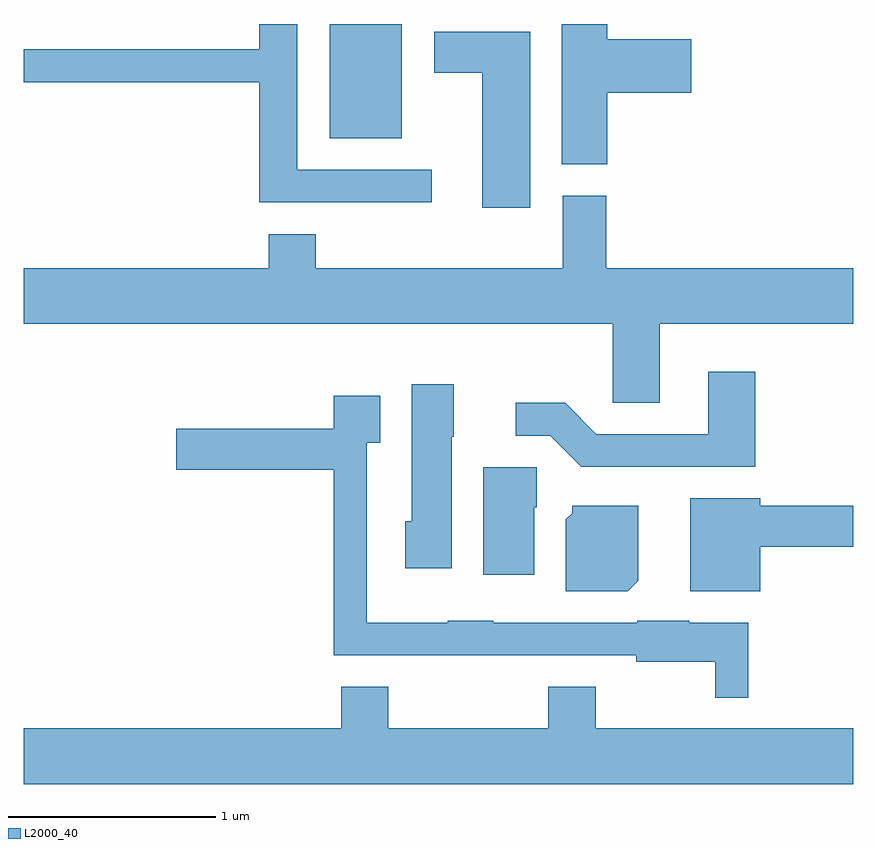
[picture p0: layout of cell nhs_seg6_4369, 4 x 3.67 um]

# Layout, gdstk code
import gdstk
lib = gdstk.Library(unit=1e-6, precision=1e-09)
def R(c, l, rs):  # rectangles x0, y0, x1, y1
    for r in rs: c.add(gdstk.rectangle(r[:2], r[2:], *l))
def P(c, l, *ps):  # polygons
    for p in ps: c.add(gdstk.Polygon(p, *l))
L2000_40 = (2000, 40)

nhs_seg6_4369 = lib.new_cell('nhs_seg6_4369')
R(nhs_seg6_4369, L2000_40, [(321.086,1537.611,321.434,1538.162)])
P(nhs_seg6_4369, L2000_40, [(322.424,1537.831),(322.829,1537.831),(322.829,1538.089),(322.424,1538.089),(322.424,1538.162),(322.206,1538.162),(322.206,1537.486),(322.424,1537.486)],
  [(321.578,1537.459),(320.929,1537.459),(320.929,1538.162),(320.746,1538.162),(320.746,1538.039),(319.611,1538.039),(319.611,1537.881),(320.746,1537.881),(320.746,1537.301),(321.578,1537.301)],
  [(322.054,1538.124),(321.591,1538.124),(321.591,1537.926),(321.821,1537.926),(321.821,1537.276),(322.054,1537.276)],
  [(322.679,1536.716),(323.611,1536.716),(323.611,1536.984),(322.419,1536.984),(322.419,1537.334),(322.211,1537.334),(322.211,1536.984),(321.019,1536.984),(321.019,1537.149),(320.791,1537.149),(320.791,1536.984),(319.611,1536.984),(319.611,1536.716),(322.451,1536.716),(322.451,1536.336),(322.679,1536.336)],
  [(323.139,1536.484),(322.911,1536.484),(322.911,1536.184),(322.372,1536.184),(322.222,1536.334),(321.983,1536.334),(321.983,1536.176),(322.149,1536.176),(322.299,1536.026),(323.139,1536.026)],
  [(321.674,1536.17),(321.684,1536.17),(321.684,1536.424),(321.481,1536.424),(321.481,1535.764),(321.451,1535.764),(321.451,1535.536),(321.674,1535.536)],
  [(323.104,1535.274),(322.82,1535.274),(322.82,1535.284),(322.57,1535.284),(322.57,1535.274),(321.875,1535.274),(321.875,1535.284),(321.655,1535.284),(321.655,1535.274),(321.264,1535.274),(321.264,1536.141),(321.329,1536.141),(321.329,1536.369),(321.106,1536.369),(321.106,1536.209),(320.346,1536.209),(320.346,1536.011),(321.106,1536.011),(321.106,1535.116),(322.566,1535.116),(322.566,1535.086),(322.946,1535.086),(322.946,1534.913),(323.104,1534.913)],
  [(322.074,1535.83),(322.084,1535.83),(322.084,1536.024),(321.826,1536.024),(321.826,1535.506),(322.074,1535.506)],
  [(323.164,1535.641),(323.611,1535.641),(323.611,1535.839),(323.164,1535.839),(323.164,1535.874),(322.826,1535.874),(322.826,1535.426),(323.164,1535.426)],
  [(322.574,1535.477),(322.574,1535.839),(322.256,1535.839),(322.256,1535.802),(322.226,1535.772),(322.226,1535.426),(322.524,1535.426)],
  [(323.611,1534.764),(322.369,1534.764),(322.369,1534.964),(322.141,1534.964),(322.141,1534.764),(321.369,1534.764),(321.369,1534.964),(321.141,1534.964),(321.141,1534.764),(319.611,1534.764),(319.611,1534.496),(323.611,1534.496)])

lib.write_gds('nhs_seg6_4369.gds')
